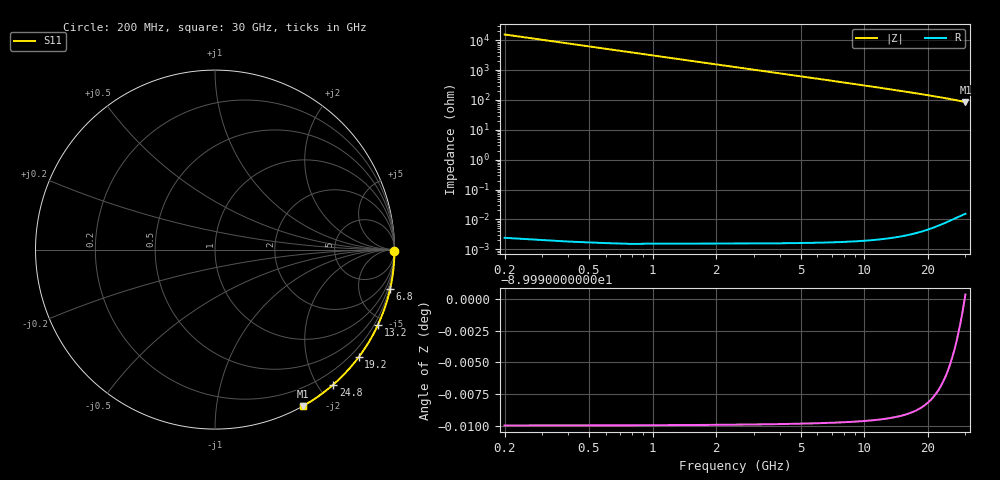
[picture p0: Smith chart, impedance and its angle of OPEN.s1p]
! Created Wed Oct 23 12:47:27 2024
! List of port names and net name(s): example Port n = <port_name> <net_name1> <net_name2> ...
! Port 1 = P1 P1 P1 P1
# hz S ma R 50
! 1 Port Network Data from data block
! freq  magS11  angS11
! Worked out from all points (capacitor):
!   150 points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, 200 MHz to 30 GHz, reference 50 ohm
!   read as one part to ground: C = 51.3 fF near 200 MHz
!   lowest |Z| = 85.3 ohm at 30 GHz (marker M1)
!   S11 on the Smith chart (normalised r, x): 200 MHz: open; 6.8 GHz: 0.00, -9.05; 13.2 GHz: 0.00, -4.55; 19.2 GHz: 0.00, -3.01; 24.8 GHz: 0.00, -2.21; 30 GHz: 0.00, -1.71
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2e8  1 -0.4
1.2e9  1 -2.2
2.2e9  1 -4.1
4e9  1 -7.4
5.4e9  1 -10.0
6.8e9  1 -12.6
7.8e9  1 -14.5
9.6e9  1 -17.9
1.14e10  1 -21.3
1.24e10  1 -23.2
1.32e10  1 -24.8
1.42e10  1 -26.7
1.52e10  1 -28.7
1.62e10  1 -30.7
1.72e10  1 -32.7
1.82e10  1 -34.7
1.9e10  1 -36.4
1.92e10  1 -36.8
2.02e10  1 -38.9
2.1e10  1 -40.5
2.26e10  1 -44.0
2.38e10  1 -46.6
2.48e10  0.9999 -48.8
2.64e10  0.9999 -52.4
2.74e10  0.9999 -54.7
2.82e10  0.9999 -56.5
2.92e10  0.9999 -58.9
3e10  0.9998 -60.8
